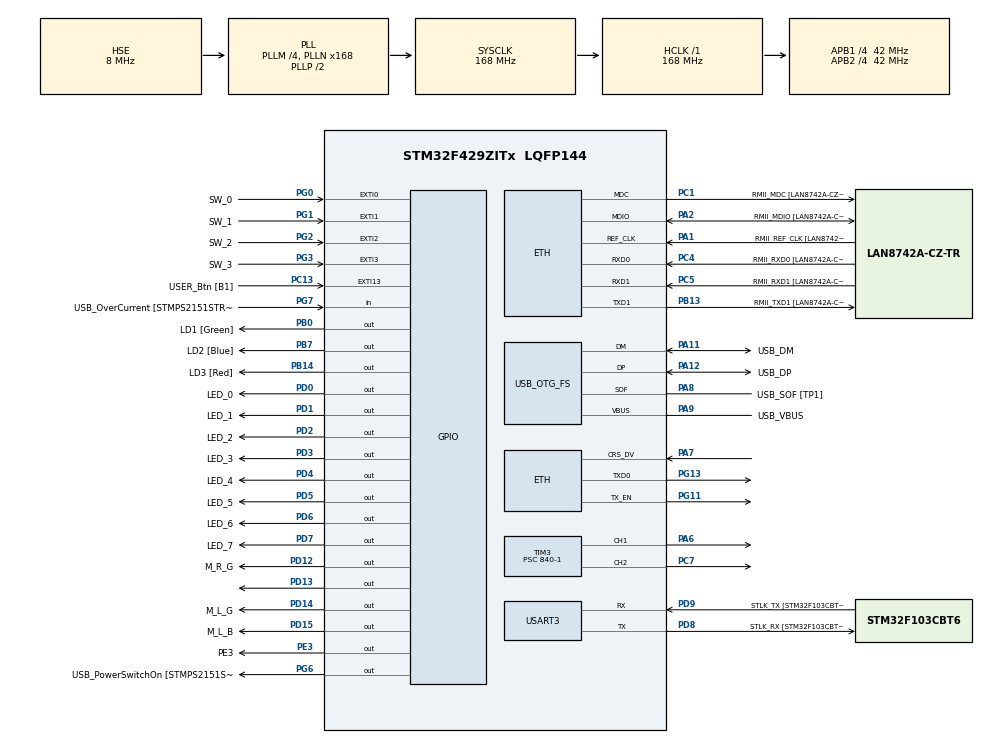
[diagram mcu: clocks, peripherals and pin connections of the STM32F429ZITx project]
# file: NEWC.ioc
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ETH.MediaInterface=ETH_MEDIA_INTERFACE_RMII
ETH.PhyAddress=0
LWIP.GATEWAY_ADDRESS=192.168.000.001
LWIP.IP_ADDRESS=192.168.000.012
LWIP.LWIP_DHCP=0
LWIP.NETMASK_ADDRESS=255.255.255.000
LWIP.Version=v2.1.2_Cube
Mcu.Family=STM32F4
Mcu.Name=STM32F429ZITx
Mcu.Package=LQFP144
NVIC.EXTI0_IRQn=true\:0\:0\:false\:false\:true\:true\:true
NVIC.EXTI1_IRQn=true\:0\:0\:false\:false\:true\:true\:true
NVIC.EXTI2_IRQn=true\:0\:0\:false\:false\:true\:true\:true
NVIC.EXTI3_IRQn=true\:0\:0\:false\:false\:true\:true\:true
NVIC.PriorityGroup=NVIC_PRIORITYGROUP_4
NVIC.TIM3_IRQn=true\:0\:0\:false\:true\:true\:1\:true\:true
NVIC.TIM4_IRQn=true\:0\:0\:false\:false\:true\:true\:true
NVIC.USART3_IRQn=true\:0\:0\:false\:false\:true\:true\:true
PA1.GPIO_Label=RMII_REF_CLK [LAN8742A-CZ-TR_REFCLK0]
PA1.Mode=RMII
PA1.Signal=ETH_REF_CLK
PA10.GPIO_Label=USB_ID
PA10.Signal=USB_OTG_FS_ID
PA11.GPIO_Label=USB_DM
PA11.Mode=Device_Only
PA11.Signal=USB_OTG_FS_DM
PA12.GPIO_Label=USB_DP
PA12.Mode=Device_Only
PA12.Signal=USB_OTG_FS_DP
PA13.GPIO_Label=TMS
PA13.Mode=Serial_Wire
PA13.Signal=SYS_JTMS-SWDIO
PA14.GPIO_Label=TCK
PA14.Mode=Serial_Wire
PA14.Signal=SYS_JTCK-SWCLK
PA2.GPIO_Label=RMII_MDIO [LAN8742A-CZ-TR_MDIO]
PA2.Mode=RMII
PA2.Signal=ETH_MDIO
PA6.GPIO_Speed=GPIO_SPEED_FREQ_VERY_HIGH
PA6.Signal=S_TIM3_CH1
PA7.Mode=RMII
PA7.Signal=ETH_CRS_DV
PA8.GPIO_Label=USB_SOF [TP1]
PA8.Mode=Activate_SOF_FS
PA8.Signal=USB_OTG_FS_SOF
PA9.GPIO_Label=USB_VBUS
PA9.Mode=Activate_VBUS
PA9.Signal=USB_OTG_FS_VBUS
PB0.GPIO_Label=LD1 [Green]
PB0.Signal=GPIO_Output
PB13.GPIO_Label=RMII_TXD1 [LAN8742A-CZ-TR_TXD1]
PB13.Mode=RMII
PB13.Signal=ETH_TXD1
PB14.GPIO_Label=LD3 [Red]
PB14.Signal=GPIO_Output
PB7.GPIO_Label=LD2 [Blue]
PB7.Signal=GPIO_Output
PC1.GPIO_Label=RMII_MDC [LAN8742A-CZ-TR_MDC]
PC1.Mode=RMII
PC1.Signal=ETH_MDC
PC13.GPIO_Label=USER_Btn [B1]
PC13.Signal=GPXTI13
PC14/OSC32_IN.Signal=RCC_OSC32_IN
PC15/OSC32_OUT.Signal=RCC_OSC32_OUT
PC4.GPIO_Label=RMII_RXD0 [LAN8742A-CZ-TR_RXD0]
PC4.Mode=RMII
PC4.Signal=ETH_RXD0
PC5.GPIO_Label=RMII_RXD1 [LAN8742A-CZ-TR_RXD1]
PC5.Mode=RMII
PC5.Signal=ETH_RXD1
PC7.Signal=S_TIM3_CH2
PD0.GPIO_Label=LED_0
PD0.GPIO_Speed=GPIO_SPEED_FREQ_VERY_HIGH
PD0.Signal=GPIO_Output
PD1.GPIO_Label=LED_1
PD1.GPIO_Speed=GPIO_SPEED_FREQ_VERY_HIGH
PD1.Signal=GPIO_Output
PD12.GPIO_Label=M_R_G
PD12.GPIO_Speed=GPIO_SPEED_FREQ_VERY_HIGH
PD12.Signal=GPIO_Output
PD13.Signal=GPIO_Output
PD14.GPIO_Label=M_L_G
PD14.GPIO_Speed=GPIO_SPEED_FREQ_VERY_HIGH
PD14.Signal=GPIO_Output
PD15.GPIO_Label=M_L_B
PD15.GPIO_Speed=GPIO_SPEED_FREQ_VERY_HIGH
PD15.Signal=GPIO_Output
PD2.GPIO_Label=LED_2
PD2.GPIO_Speed=GPIO_SPEED_FREQ_VERY_HIGH
PD2.Signal=GPIO_Output
PD3.GPIO_Label=LED_3
PD3.GPIO_Speed=GPIO_SPEED_FREQ_VERY_HIGH
PD3.Signal=GPIO_Output
PD4.GPIO_Label=LED_4
PD4.GPIO_Speed=GPIO_SPEED_FREQ_VERY_HIGH
PD4.Signal=GPIO_Output
PD5.GPIO_Label=LED_5
PD5.GPIO_Speed=GPIO_SPEED_FREQ_VERY_HIGH
PD5.Signal=GPIO_Output
PD6.GPIO_Label=LED_6
PD6.GPIO_Speed=GPIO_SPEED_FREQ_VERY_HIGH
PD6.Signal=GPIO_Output
PD7.GPIO_Label=LED_7
PD7.GPIO_Speed=GPIO_SPEED_FREQ_VERY_HIGH
PD7.Signal=GPIO_Output
PD8.GPIO_Label=STLK_RX [STM32F103CBT6_PA3]
PD8.Mode=Asynchronous
PD8.Signal=USART3_TX
PD9.GPIO_Label=STLK_TX [STM32F103CBT6_PA2]
PD9.Mode=Asynchronous
PD9.Signal=USART3_RX
PE3.GPIO_Label=PE3
PE3.GPIO_Speed=GPIO_SPEED_FREQ_VERY_HIGH
PE3.PinState=GPIO_PIN_RESET
PE3.Signal=GPIO_Output
PG0.GPIO_Label=SW_0
PG0.GPIO_ModeDefaultEXTI=GPIO_MODE_IT_FALLING
PG0.GPIO_PuPd=GPIO_NOPULL
PG0.Signal=GPXTI0
PG1.GPIO_Label=SW_1
PG1.GPIO_ModeDefaultEXTI=GPIO_MODE_IT_FALLING
PG1.GPIO_PuPd=GPIO_NOPULL
PG1.Signal=GPXTI1
PG11.Mode=RMII
PG11.Signal=ETH_TX_EN
PG13.Mode=RMII
PG13.Signal=ETH_TXD0
PG2.GPIO_Label=SW_2
PG2.GPIO_ModeDefaultEXTI=GPIO_MODE_IT_FALLING
PG2.GPIO_PuPd=GPIO_NOPULL
PG2.Signal=GPXTI2
PG3.GPIO_Label=SW_3
PG3.GPIO_ModeDefaultEXTI=GPIO_MODE_IT_FALLING
PG3.GPIO_PuPd=GPIO_NOPULL
PG3.Signal=GPXTI3
PG6.GPIO_Label=USB_PowerSwitchOn [STMPS2151STR_EN]
PG6.Signal=GPIO_Output
PG7.GPIO_Label=USB_OverCurrent [STMPS2151STR_FAULT]
PG7.Signal=GPIO_Input
PH0/OSC_IN.GPIO_Label=MCO [STM32F103CBT6_PA8]
PH0/OSC_IN.Mode=HSE-External-Clock-Source
PH0/OSC_IN.Signal=RCC_OSC_IN
PH1/OSC_OUT.Mode=HSE-External-Clock-Source
PH1/OSC_OUT.Signal=RCC_OSC_OUT
ProjectManager.HeapSize=0x200
ProjectManager.StackSize=0x400
ProjectManager.TargetToolchain=EWARM V8.32
RCC.48MHZClocksFreq_Value=48000000
RCC.AHBFreq_Value=168000000
RCC.APB1CLKDivider=RCC_HCLK_DIV4
RCC.APB1Freq_Value=42000000
RCC.APB1TimFreq_Value=84000000
RCC.APB2CLKDivider=RCC_HCLK_DIV4
RCC.APB2Freq_Value=42000000
RCC.APB2TimCLKDivider=2
RCC.APB2TimFreq_Value=84000000
RCC.CortexFreq_Value=168000000
RCC.HCLKFreq_Value=168000000
RCC.HSE_VALUE=8000000
RCC.HSI_VALUE=16000000
RCC.LSE_VALUE=32768
RCC.PLLM=4
RCC.PLLMUL=RCC_PLL_MUL9
RCC.PLLN=168
RCC.PLLQ=7
RCC.PRESCALERUSB=RCC_USBCLKSOURCE_PLL_DIV1_5
RCC.SYSCLKFreq_VALUE=168000000
RCC.SYSCLKSource=RCC_SYSCLKSOURCE_PLLCLK
RCC.SYSCLKSourceVirtual=RCC_SYSCLKSOURCE_PLLCLK
RCC.USBFreq_Value=48000000
RCC.VCOOutputFreq_Value=336000000
SH.S_TIM3_CH1.0=TIM3_CH1,PWM Generation1 CH1
SH.S_TIM3_CH2.0=TIM3_CH2,PWM Generation2 CH2
TIM3.Channel-PWM\ Generation1\ CH1=TIM_CHANNEL_1
TIM3.Channel-PWM\ Generation2\ CH2=TIM_CHANNEL_2
TIM3.Period=2000-1
TIM3.Prescaler=840-1
TIM3.Pulse-PWM\ Generation1\ CH1=1825-1
TIM3.Pulse-PWM\ Generation2\ CH2=1825-1
TIM4.Period=10000-1
TIM4.Prescaler=8400-1
USART3.VirtualMode=VM_ASYNC
USB_OTG_FS.VirtualMode=Device_Only
VP_LWIP_VS_Enabled.Mode=Enabled
VP_TIM3_VS_ClockSourceINT.Mode=Internal
VP_TIM4_VS_ClockSourceINT.Mode=Internal
board=NUCLEO-F429ZI

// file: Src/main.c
/* USER CODE BEGIN Header */
/**
  ******************************************************************************
  * @file           : main.c
  * @brief          : Main program body
  ******************************************************************************
  * @attention
  *
  * <h2><center>&copy; Copyright (c) 2020 STMicroelectronics.
  * All rights reserved.</center></h2>
  *
  * This software component is licensed by ST under BSD 3-Clause license,
  * the "License"; You may not use this file except in compliance with the
  * License. You may obtain a copy of the License at:
  *                        opensource.org/licenses/BSD-3-Clause
  *
  ******************************************************************************
  */
/* USER CODE END Header */

#include "main.h"
#include "lwip.h"

/* USER CODE BEGIN Includes */
#include <stdio.h>
#include <string.h>
/* USER CODE END Includes */

/* USER CODE BEGIN PTD */
#define PUTCHAR_PROTOTYPE int fputc(int ch, FILE *f)		/* for printf */
#define RxBufferSize  0xFF
uint8_t RxBuffer[RxBufferSize];
/* USER CODE END PTD */

/* USER CODE BEGIN PD */
int pulse = 1825;
int start_sen = 0;
int canger =1;
int p0 = 0;
int p1 =0;
int p2 =0;
int psum = 0;
int num = 0;
int nums = 0;
int count = 0;
char full_ch[50];
char full_ch1[50];
int point = 0;
TIM_OC_InitTypeDef sConfigOC = {0};
/* USER CODE END PD */

TIM_HandleTypeDef htim3;
TIM_HandleTypeDef htim4;

UART_HandleTypeDef huart3;

PCD_HandleTypeDef hpcd_USB_OTG_FS;

void SystemClock_Config(void);
static void MX_GPIO_Init(void);
static void MX_TIM3_Init(void);
static void MX_USART3_UART_Init(void);
static void MX_USB_OTG_FS_PCD_Init(void);
static void MX_TIM4_Init(void);
static void MX_NVIC_Init(void);

int main(void)
{

  /* MCU Configuration--------------------------------------------------------*/

  /* Reset of all peripherals, Initializes the Flash interface and the Systick. */
  HAL_Init();

  /* Configure the system clock */
  SystemClock_Config();

  /* Initialize all configured peripherals */
  MX_GPIO_Init();
  MX_TIM3_Init();
  MX_USART3_UART_Init();
  MX_USB_OTG_FS_PCD_Init();
  MX_TIM4_Init();
  MX_LWIP_Init();

  /* Initialize interrupts */
  MX_NVIC_Init();
  /* USER CODE BEGIN 2 */
   HAL_TIM_Base_Start_IT(&htim3);
   HAL_TIM_Base_Start_IT(&htim4);
   HAL_TIM_PWM_Start_IT(&htim3, TIM_CHANNEL_1);
   HAL_TIM_PWM_Start_IT(&htim3, TIM_CHANNEL_2);
   HAL_TIM_PWM_Start_IT(&htim3, TIM_CHANNEL_3);

   p0 = pulse;
   p1 = pulse;
   p2 = pulse;
   psum = (p0+ p1) /2;

  /* USER CODE END 2 */

  /* Infinite loop */
  while (1)
  {

    /* USER CODE BEGIN 3 */

    HAL_GPIO_WritePin(GPIOD, M_R_G_Pin, GPIO_PIN_SET);
    HAL_GPIO_WritePin(GPIOD, M_R_B_Pin, GPIO_PIN_RESET);
    HAL_GPIO_WritePin(GPIOD, M_L_G_Pin, GPIO_PIN_SET);
    HAL_GPIO_WritePin(GPIOD, M_L_B_Pin, GPIO_PIN_RESET);

  }
  /* USER CODE END 3 */
}

void SystemClock_Config(void)
{
  RCC_OscInitTypeDef RCC_OscInitStruct = {0};
  RCC_ClkInitTypeDef RCC_ClkInitStruct = {0};

  /** Configure the main internal regulator output voltage
  */
  __HAL_RCC_PWR_CLK_ENABLE();
  __HAL_PWR_VOLTAGESCALING_CONFIG(PWR_REGULATOR_VOLTAGE_SCALE1);
  /** Initializes the CPU, AHB and APB busses clocks
  */
  RCC_OscInitStruct.OscillatorType = RCC_OSCILLATORTYPE_HSE;
  RCC_OscInitStruct.HSEState = RCC_HSE_BYPASS;
  RCC_OscInitStruct.PLL.PLLState = RCC_PLL_ON;
  RCC_OscInitStruct.PLL.PLLSource = RCC_PLLSOURCE_HSE;
  RCC_OscInitStruct.PLL.PLLM = 4;
  RCC_OscInitStruct.PLL.PLLN = 168;
  RCC_OscInitStruct.PLL.PLLP = RCC_PLLP_DIV2;
  RCC_OscInitStruct.PLL.PLLQ = 7;
  if (HAL_RCC_OscConfig(&RCC_OscInitStruct) != HAL_OK)
  {
    Error_Handler();
  }
  /** Initializes the CPU, AHB and APB busses clocks
  */
  RCC_ClkInitStruct.ClockType = RCC_CLOCKTYPE_HCLK|RCC_CLOCKTYPE_SYSCLK
                              |RCC_CLOCKTYPE_PCLK1|RCC_CLOCKTYPE_PCLK2;
  RCC_ClkInitStruct.SYSCLKSource = RCC_SYSCLKSOURCE_PLLCLK;
  RCC_ClkInitStruct.AHBCLKDivider = RCC_SYSCLK_DIV1;
  RCC_ClkInitStruct.APB1CLKDivider = RCC_HCLK_DIV4;
  RCC_ClkInitStruct.APB2CLKDivider = RCC_HCLK_DIV4;

  if (HAL_RCC_ClockConfig(&RCC_ClkInitStruct, FLASH_LATENCY_5) != HAL_OK)
  {
    Error_Handler();
  }
}

/**
  * @brief NVIC Configuration.
  * @retval None
  */
static void MX_NVIC_Init(void)
{
  /* TIM3_IRQn interrupt configuration */
  HAL_NVIC_SetPriority(TIM3_IRQn, 0, 0);
  HAL_NVIC_EnableIRQ(TIM3_IRQn);
}

static void MX_TIM3_Init(void)
{

  TIM_ClockConfigTypeDef sClockSourceConfig = {0};
  TIM_MasterConfigTypeDef sMasterConfig = {0};
  TIM_OC_InitTypeDef sConfigOC = {0};

  htim3.Instance = TIM3;
  htim3.Init.Prescaler = 840-1;
  htim3.Init.CounterMode = TIM_COUNTERMODE_UP;
  htim3.Init.Period = 2000-1;
  htim3.Init.ClockDivision = TIM_CLOCKDIVISION_DIV1;
  htim3.Init.AutoReloadPreload = TIM_AUTORELOAD_PRELOAD_DISABLE;
  if (HAL_TIM_Base_Init(&htim3) != HAL_OK)
  {
    Error_Handler();
  }
  sClockSourceConfig.ClockSource = TIM_CLOCKSOURCE_INTERNAL;
  if (HAL_TIM_ConfigClockSource(&htim3, &sClockSourceConfig) != HAL_OK)
  {
    Error_Handler();
  }
  if (HAL_TIM_PWM_Init(&htim3) != HAL_OK)
  {
    Error_Handler();
  }
  sMasterConfig.MasterOutputTrigger = TIM_TRGO_RESET;
  sMasterConfig.MasterSlaveMode = TIM_MASTERSLAVEMODE_DISABLE;
  if (HAL_TIMEx_MasterConfigSynchronization(&htim3, &sMasterConfig) != HAL_OK)
  {
    Error_Handler();
  }
  sConfigOC.OCMode = TIM_OCMODE_PWM1;
  sConfigOC.Pulse = 1825-1;
  sConfigOC.OCPolarity = TIM_OCPOLARITY_HIGH;
  sConfigOC.OCFastMode = TIM_OCFAST_DISABLE;
  if (HAL_TIM_PWM_ConfigChannel(&htim3, &sConfigOC, TIM_CHANNEL_1) != HAL_OK)
  {
    Error_Handler();
  }
  if (HAL_TIM_PWM_ConfigChannel(&htim3, &sConfigOC, TIM_CHANNEL_2) != HAL_OK)
  {
    Error_Handler();
  }
  HAL_TIM_MspPostInit(&htim3);

}

static void MX_TIM4_Init(void)
{

  TIM_ClockConfigTypeDef sClockSourceConfig = {0};
  TIM_MasterConfigTypeDef sMasterConfig = {0};

  htim4.Instance = TIM4;
  htim4.Init.Prescaler = 8400-1;
  htim4.Init.CounterMode = TIM_COUNTERMODE_UP;
  htim4.Init.Period = 10000-1;
  htim4.Init.ClockDivision = TIM_CLOCKDIVISION_DIV1;
  htim4.Init.AutoReloadPreload = TIM_AUTORELOAD_PRELOAD_DISABLE;
  if (HAL_TIM_Base_Init(&htim4) != HAL_OK)
  {
    Error_Handler();
  }
  sClockSourceConfig.ClockSource = TIM_CLOCKSOURCE_INTERNAL;
  if (HAL_TIM_ConfigClockSource(&htim4, &sClockSourceConfig) != HAL_OK)
  {
    Error_Handler();
  }
  sMasterConfig.MasterOutputTrigger = TIM_TRGO_RESET;
  sMasterConfig.MasterSlaveMode = TIM_MASTERSLAVEMODE_DISABLE;
  if (HAL_TIMEx_MasterConfigSynchronization(&htim4, &sMasterConfig) != HAL_OK)
  {
    Error_Handler();
  }

}

static void MX_USART3_UART_Init(void)
{

  huart3.Instance = USART3;
  huart3.Init.BaudRate = 115200;
  huart3.Init.WordLength = UART_WORDLENGTH_8B;
  huart3.Init.StopBits = UART_STOPBITS_1;
  huart3.Init.Parity = UART_PARITY_NONE;
  huart3.Init.Mode = UART_MODE_TX_RX;
  huart3.Init.HwFlowCtl = UART_HWCONTROL_NONE;
  huart3.Init.OverSampling = UART_OVERSAMPLING_16;
  if (HAL_UART_Init(&huart3) != HAL_OK)
  {
    Error_Handler();
  }

}

static void MX_USB_OTG_FS_PCD_Init(void)
{

  hpcd_USB_OTG_FS.Instance = USB_OTG_FS;
  hpcd_USB_OTG_FS.Init.dev_endpoints = 4;
  hpcd_USB_OTG_FS.Init.speed = PCD_SPEED_FULL;
  hpcd_USB_OTG_FS.Init.dma_enable = DISABLE;
  hpcd_USB_OTG_FS.Init.phy_itface = PCD_PHY_EMBEDDED;
  hpcd_USB_OTG_FS.Init.Sof_enable = ENABLE;
  hpcd_USB_OTG_FS.Init.low_power_enable = DISABLE;
  hpcd_USB_OTG_FS.Init.lpm_enable = DISABLE;
  hpcd_USB_OTG_FS.Init.vbus_sensing_enable = ENABLE;
  hpcd_USB_OTG_FS.Init.use_dedicated_ep1 = DISABLE;
  if (HAL_PCD_Init(&hpcd_USB_OTG_FS) != HAL_OK)
  {
    Error_Handler();
  }

}

static void MX_GPIO_Init(void)
{
  GPIO_InitTypeDef GPIO_InitStruct = {0};

  /* GPIO Ports Clock Enable */
  __HAL_RCC_GPIOE_CLK_ENABLE();
  __HAL_RCC_GPIOC_CLK_ENABLE();
  __HAL_RCC_GPIOH_CLK_ENABLE();
  __HAL_RCC_GPIOA_CLK_ENABLE();
  __HAL_RCC_GPIOB_CLK_ENABLE();
  __HAL_RCC_GPIOG_CLK_ENABLE();
  __HAL_RCC_GPIOD_CLK_ENABLE();

  /*Configure GPIO pin Output Level */
  HAL_GPIO_WritePin(PE3_GPIO_Port, PE3_Pin, GPIO_PIN_RESET);

  /*Configure GPIO pin Output Level */
  HAL_GPIO_WritePin(GPIOB, LD1_Pin|LD3_Pin|LD2_Pin, GPIO_PIN_RESET);

  /*Configure GPIO pin Output Level */
  HAL_GPIO_WritePin(GPIOD, M_R_G_Pin|GPIO_PIN_13|M_L_G_Pin|M_L_B_Pin
                          |LED_0_Pin|LED_1_Pin|LED_2_Pin|LED_3_Pin
                          |LED_4_Pin|LED_5_Pin|LED_6_Pin|LED_7_Pin, GPIO_PIN_RESET);

  /*Configure GPIO pin Output Level */
  HAL_GPIO_WritePin(USB_PowerSwitchOn_GPIO_Port, USB_PowerSwitchOn_Pin, GPIO_PIN_RESET);

  /*Configure GPIO pin : PE3_Pin */
  GPIO_InitStruct.Pin = PE3_Pin;
  GPIO_InitStruct.Mode = GPIO_MODE_OUTPUT_PP;
  GPIO_InitStruct.Pull = GPIO_NOPULL;
  GPIO_InitStruct.Speed = GPIO_SPEED_FREQ_VERY_HIGH;
  HAL_GPIO_Init(PE3_GPIO_Port, &GPIO_InitStruct);

  /*Configure GPIO pin : USER_Btn_Pin */
  GPIO_InitStruct.Pin = USER_Btn_Pin;
  GPIO_InitStruct.Mode = GPIO_MODE_IT_RISING;
  GPIO_InitStruct.Pull = GPIO_NOPULL;
  HAL_GPIO_Init(USER_Btn_GPIO_Port, &GPIO_InitStruct);

  /*Configure GPIO pins : LD1_Pin LD3_Pin LD2_Pin */
  GPIO_InitStruct.Pin = LD1_Pin|LD3_Pin|LD2_Pin;
  GPIO_InitStruct.Mode = GPIO_MODE_OUTPUT_PP;
  GPIO_InitStruct.Pull = GPIO_NOPULL;
  GPIO_InitStruct.Speed = GPIO_SPEED_FREQ_LOW;
  HAL_GPIO_Init(GPIOB, &GPIO_InitStruct);

  /*Configure GPIO pins : SW_0_Pin SW_1_Pin SW_2_Pin SW_3_Pin */
  GPIO_InitStruct.Pin = SW_0_Pin|SW_1_Pin|SW_2_Pin|SW_3_Pin;
  GPIO_InitStruct.Mode = GPIO_MODE_IT_FALLING;
  GPIO_InitStruct.Pull = GPIO_NOPULL;
  HAL_GPIO_Init(GPIOG, &GPIO_InitStruct);

  /*Configure GPIO pins : M_R_G_Pin M_L_G_Pin M_L_B_Pin LED_0_Pin
                           LED_1_Pin LED_2_Pin LED_3_Pin LED_4_Pin
                           LED_5_Pin LED_6_Pin LED_7_Pin */
  GPIO_InitStruct.Pin = M_R_G_Pin|M_L_G_Pin|M_L_B_Pin|LED_0_Pin
                          |LED_1_Pin|LED_2_Pin|LED_3_Pin|LED_4_Pin
                          |LED_5_Pin|LED_6_Pin|LED_7_Pin;
  GPIO_InitStruct.Mode = GPIO_MODE_OUTPUT_PP;
  GPIO_InitStruct.Pull = GPIO_NOPULL;
  GPIO_InitStruct.Speed = GPIO_SPEED_FREQ_VERY_HIGH;
  HAL_GPIO_Init(GPIOD, &GPIO_InitStruct);

  /*Configure GPIO pin : PD13 */
  GPIO_InitStruct.Pin = GPIO_PIN_13;
  GPIO_InitStruct.Mode = GPIO_MODE_OUTPUT_PP;
  GPIO_InitStruct.Pull = GPIO_NOPULL;
  GPIO_InitStruct.Speed = GPIO_SPEED_FREQ_LOW;
  HAL_GPIO_Init(GPIOD, &GPIO_InitStruct);

  /*Configure GPIO pin : USB_PowerSwitchOn_Pin */
  GPIO_InitStruct.Pin = USB_PowerSwitchOn_Pin;
  GPIO_InitStruct.Mode = GPIO_MODE_OUTPUT_PP;
  GPIO_InitStruct.Pull = GPIO_NOPULL;
  GPIO_InitStruct.Speed = GPIO_SPEED_FREQ_LOW;
  HAL_GPIO_Init(USB_PowerSwitchOn_GPIO_Port, &GPIO_InitStruct);

  /*Configure GPIO pin : USB_OverCurrent_Pin */
  GPIO_InitStruct.Pin = USB_OverCurrent_Pin;
  GPIO_InitStruct.Mode = GPIO_MODE_INPUT;
  GPIO_InitStruct.Pull = GPIO_NOPULL;
  HAL_GPIO_Init(USB_OverCurrent_GPIO_Port, &GPIO_InitStruct);

  /* EXTI interrupt init*/
  HAL_NVIC_SetPriority(EXTI0_IRQn, 0, 0);
  HAL_NVIC_EnableIRQ(EXTI0_IRQn);

  HAL_NVIC_SetPriority(EXTI1_IRQn, 0, 0);
  HAL_NVIC_EnableIRQ(EXTI1_IRQn);

  HAL_NVIC_SetPriority(EXTI2_IRQn, 0, 0);
  HAL_NVIC_EnableIRQ(EXTI2_IRQn);

  HAL_NVIC_SetPriority(EXTI3_IRQn, 0, 0);
  HAL_NVIC_EnableIRQ(EXTI3_IRQn);

}

void Error_Handler(void)
{
}

/************************ (C) COPYRIGHT STMicroelectronics *****END OF FILE****/
